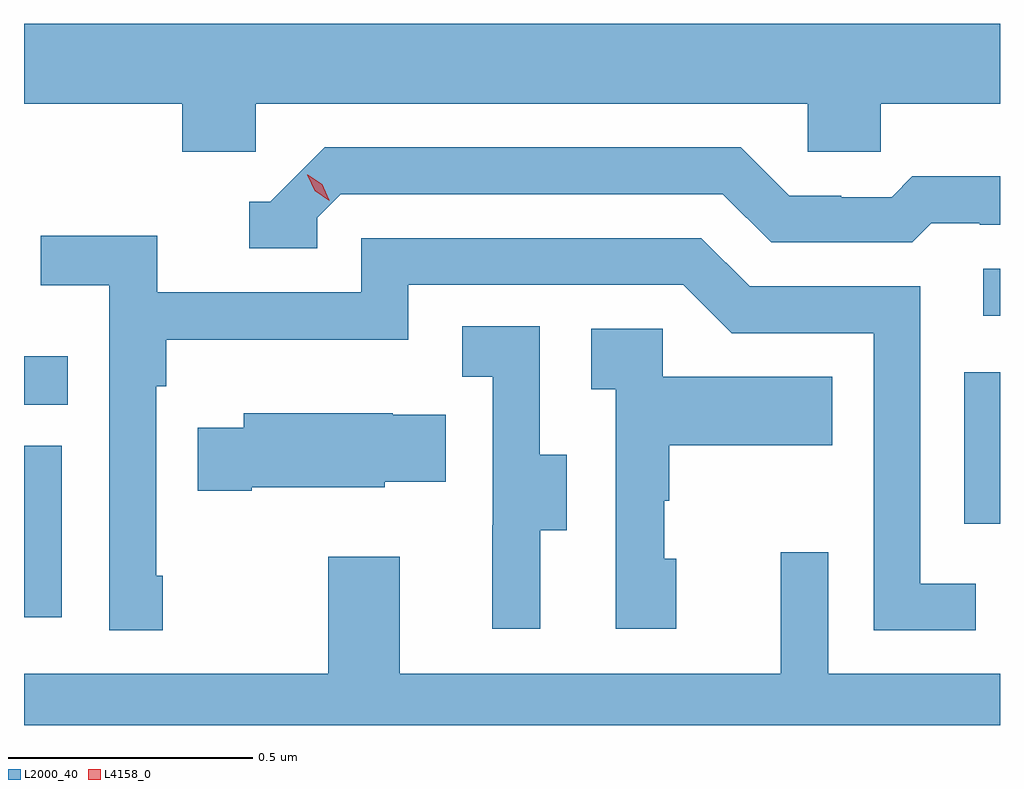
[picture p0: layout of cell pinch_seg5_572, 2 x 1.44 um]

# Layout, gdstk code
import gdstk
lib = gdstk.Library(unit=1e-6, precision=1e-09)
def R(c, l, rs):  # rectangles x0, y0, x1, y1
    for r in rs: c.add(gdstk.rectangle(r[:2], r[2:], *l))
def P(c, l, *ps):  # polygons
    for p in ps: c.add(gdstk.Polygon(p, *l))
L2000_40 = (2000, 40)
L4158_0 = (4158, 0)

pinch_seg5_572 = lib.new_cell('pinch_seg5_572')
R(pinch_seg5_572, L2000_40, [(997.037,843.72,997.114,844.071), (998.964,843.912,999.037,844.222), (997.037,844.156,997.127,844.255), (999.003,844.338,999.037,844.434)])
P(pinch_seg5_572, L2000_40, [(997.512,844.772),(998.643,844.772),(998.643,844.674),(998.793,844.674),(998.793,844.772),(999.037,844.772),(999.037,844.936),(997.037,844.936),(997.037,844.772),(997.361,844.772),(997.361,844.674),(997.512,844.674)],
  [(997.638,844.539),(997.686,844.587),(998.469,844.587),(998.568,844.488),(998.857,844.488),(998.896,844.527),(998.995,844.527),(998.995,844.524),(999.037,844.524),(999.037,844.624),(998.857,844.624),(998.815,844.581),(998.712,844.581),(998.712,844.584),(998.605,844.584),(998.506,844.683),(997.653,844.683),(997.542,844.572),(997.499,844.572),(997.499,844.476),(997.638,844.476)],
  [(997.321,843.805),(997.308,843.805),(997.308,844.193),(997.328,844.193),(997.328,844.289),(997.824,844.289),(997.824,844.401),(998.388,844.401),(998.487,844.302),(998.778,844.302),(998.778,843.693),(998.987,843.693),(998.987,843.789),(998.874,843.789),(998.874,844.398),(998.524,844.398),(998.425,844.497),(997.728,844.497),(997.728,844.386),(997.31,844.386),(997.31,844.502),(997.071,844.502),(997.071,844.4),(997.212,844.4),(997.212,843.693),(997.321,843.693)],
  [(998.095,843.898),(998.149,843.898),(998.149,844.053),(998.094,844.053),(998.094,844.316),(997.935,844.316),(997.935,844.213),(997.998,844.213),(997.998,843.909),(997.997,843.909),(997.997,843.696),(998.095,843.696)],
  [(998.374,843.84),(998.349,843.84),(998.349,843.959),(998.359,843.959),(998.359,844.073),(998.693,844.073),(998.693,844.213),(998.346,844.213),(998.346,844.311),(998.199,844.311),(998.199,844.187),(998.25,844.187),(998.25,843.696),(998.374,843.696)],
  [(997.504,843.986),(997.776,843.986),(997.776,843.998),(997.901,843.998),(997.901,844.135),(997.793,844.135),(997.793,844.138),(997.487,844.138),(997.487,844.108),(997.393,844.108),(997.393,843.979),(997.504,843.979)],
  [(997.66,843.844),(997.66,843.604),(997.037,843.604),(997.037,843.499),(999.037,843.499),(999.037,843.604),(998.685,843.604),(998.685,843.853),(998.588,843.853),(998.588,843.604),(997.807,843.604),(997.807,843.844)])
P(pinch_seg5_572, L4158_0, [(997.663,844.574),(997.633,844.594),(997.617,844.627),(997.617,844.627),(997.618,844.627),(997.648,844.607),(997.663,844.575),(997.663,844.574)])

lib.write_gds('pinch_seg5_572.gds')
